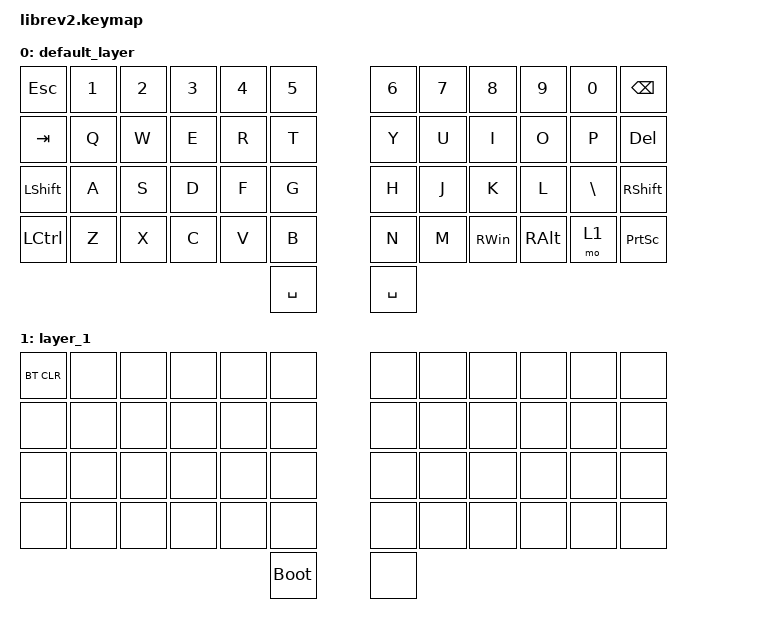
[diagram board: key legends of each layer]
#include <behaviors.dtsi>
#include <dt-bindings/zmk/keys.h>
#include <dt-bindings/zmk/bt.h>

/ {
    keymap {
      compatible = "zmk,keymap";
                default_layer {
// ---------------------------------------------------------------------------------
// |  ESC |  1  |  2  |  3  |  4  |  5  |           |  6  |  7  |  8  |  9  |  0  | BKSP |
// |  TAB |  Q  |  W  |  E  |  R  |  T  |           |  Y  |  U  |  I  |  O  |  P  |  DEL |
// | SHFT |  A  |  S  |  D  |  F  |  G  |           |  H  |  J  |  K  |  L  |  \  | SHFT |
// | CRTL |  Z  |  X  |  C  |  V  |  B  |           |  N  |  M  | Win | Alt | Fn  |PrtSc |
// |      |     |     |     |     |     | SPC | Ent |     |     |     |     |     |      |
                        bindings = <
   &kp ESC    &kp N1    &kp N2    &kp N3     &kp N4     &kp N5               &kp N6     &kp N7  &kp N8     &kp N9    &kp N0    &kp BSPC
   &kp TAB    &kp Q     &kp W     &kp E      &kp R      &kp T                &kp Y      &kp U   &kp I      &kp O     &kp P     &kp DELETE
   &kp LSHFT  &kp A     &kp S     &kp D      &kp F      &kp G                &kp H      &kp J   &kp K      &kp L     &kp BACKSLASH  &kp RIGHT_SHIFT
   &kp LCTRL  &kp Z     &kp X     &kp C      &kp V      &kp B                &kp N      &kp M   &kp RIGHT_WIN  &kp RIGHT_ALT   &mo 1     &kp PRINTSCREEN
   &kp SPACE                                                                 &kp SPACE 
                        >;
                };
            layer_1 {
// ---------------------------------------------------------------------------------
// |  BT Clear |  1  |  2  |  3  |  4  |  5  |           |  6  |  7  |  8  |  9  |  0  | BKSP |
// |  TAB |  Q  |  W  |  E  |  R  |  T  |           |  Y  |  U  |  I  |  O  |  P  |  DEL |
// | SHFT |  A  |  S  |  D  |  F  |  G  |           |  H  |  J  |  K  |  L  |  \  | SHFT |
// | CRTL |  Z  |  X  |  C  |  V  |  B  |           |  N  |  M  | Win | Alt | Fn  |PrtSc |
// |      |     |     |     |     |     | SPC | Ent |     |     |     |     |     |      |
                        bindings = <
   &bt BT_CLR    &none    &none    &none    &none    &none                        &none    &none    &none    &none    &none    &none       
   &none    &none    &none    &none    &none    &none                        &none    &none    &none    &none    &none    &none  
   &none    &none    &none    &none    &none    &none                        &none    &none    &none    &none    &none    &none  
   &none    &none    &none    &none    &none    &none                        &none    &none    &none    &none    &none    &none  
   &bootloader                                                               &none 
                        >;
                };

        };
}; 
